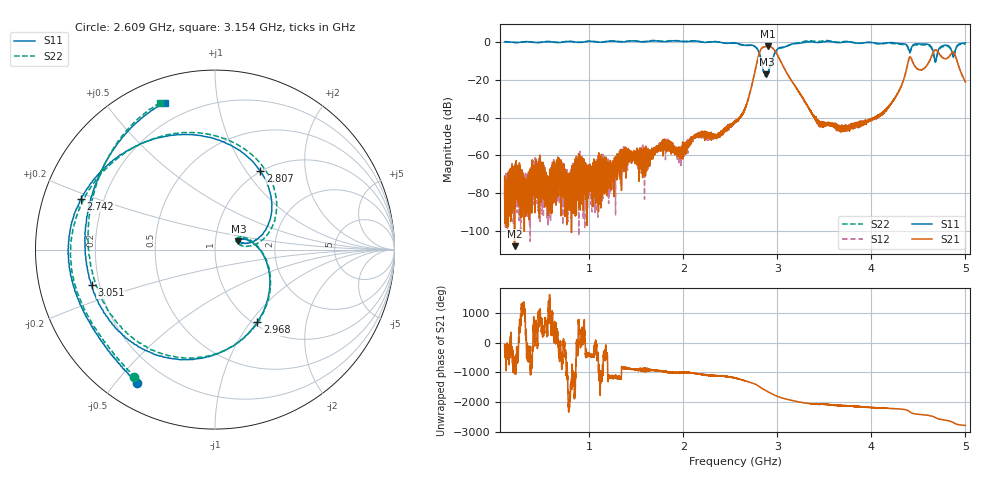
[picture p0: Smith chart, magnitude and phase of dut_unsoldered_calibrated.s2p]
!Keysight Technologies N9917A: A.13.25
!Date: Thursday, 15 October 2026 16:12:45
!Timezone: (UTC-08:00) Pacific Time (US & Canada)
!Model: N9917A
!Serial: MY56072049
!GPS Latitude:
!GPS Longitude:
!GPS TimeStamp: 0001-01-01 00:00:00Z
!GPS Seconds Since Last Read: 0
!CHECKSUM:0357207309
!Correction: S11(ON U)S21(ON U)S12(ON U)S22(ON U)
!S2P File: Measurements:S11,S21,S12,S22:
# Hz S DB R 50
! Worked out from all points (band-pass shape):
!   10001 points, 100 MHz to 5 GHz, reference 50 ohm
!   highest |S21| = -2.41 dB at 2.902 GHz (marker M1); lowest = -108.0 dB at 205.8 MHz (marker M2)
!   |S21| within 3 dB of the highest: 2.812 GHz to 2.984 GHz (171.9 MHz wide, 5.93 % of centre); 4.661 GHz to 4.709 GHz (48.76 MHz wide, 1.04 % of centre)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
!   lowest |S11| = -17.1 dB at 2.884 GHz (marker M3), VSWR 1.32, Z = 64.7 + j6.27 ohm
!   |S11| at or under -10 dB: 2.828 GHz to 2.944 GHz (116 MHz wide, 4.02 % of centre); 4.676665 GHz to 4.685375 GHz (8.71 MHz wide, 0.186 % of centre)
!   |S22| runs from -17.9 to 0.7 dB; largest |S21 - S12| = 0.0047
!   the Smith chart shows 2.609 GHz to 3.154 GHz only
!   S11 on the Smith chart (normalised r, x): 2.609 GHz: 0.10, -0.57; 2.742 GHz: 0.12, +0.18; 2.807 GHz: 0.99, +1.17; 2.968 GHz: 1.05, -1.08; 3.051 GHz: 0.17, -0.14; 3.154 GHz: 0.11, +0.71
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1e8  0.04 170.9  -83.07 -60.6  -82.02 31.2  0.04 170.9
2.0584e8  -0.40 161.9  -107.95 37.8  -74.66 -118.5  -0.33 162.1
9.1683e8  -0.29 98.5  -68.40 -76.6  -65.67 -31.7  -0.16 99.4
1.73366e9  0.37 25.8  -57.52 131.1  -56.01 130.0  0.52 25.9
2.1384e9  0.37 -20.6  -50.20 28.3  -49.41 34.0  0.47 -22.1
2.55e9  -0.60 -100.9  -41.91 -112.9  -42.70 -115.0  -0.77 -102.9
2.6088e9  -1.30 -120.4  -39.87 -164.2  -39.27 -167.1  -1.52 -122.4
2.74159e9  -1.95 159.2  -20.24 64.8  -20.23 64.9  -2.10 160.6
2.80725e9  -5.93 60.0  -6.08 -40.9  -6.08 -40.8  -5.45 59.9
2.84204e9  -13.24 11.9  -3.05 -116.8  -3.04 -116.8  -13.13 7.1
2.88369e9  -17.13 20.0  -2.46 168.1  -2.44 168.2  -17.21 27.8
2.90231e9  -16.26 22.4  -2.41 137.4  -2.41 137.5  -15.32 23.7
2.96846e9  -6.59 -59.7  -4.31 31.1  -4.32 31.1  -6.27 -63.6
3.05078e9  -2.90 -163.9  -11.72 -70.0  -11.72 -70.2  -3.20 -163.6
3.15368e9  -1.25 108.8  -20.77 -150.7  -20.77 -150.7  -1.17 110.6
3.36683e9  -0.02 11.6  -37.49 91.9  -37.67 92.0  0.47 8.7
3.71767e9  -0.09 -72.5  -45.99 31.5  -45.84 31.2  0.17 -75.7
4.18366e9  -0.44 -140.6  -34.46 -58.5  -34.33 -56.9  -0.73 -141.3
4.41298e9  -5.31 -159.4  -7.93 177.4  -7.91 177.6  -5.56 -157.8
4.67709e9  -10.12 164.4  -4.30 -3.7  -4.30 -3.8  -10.48 166.8
4.86574e9  -7.25 159.2  -5.37 -166.8  -5.35 -166.7  -7.47 162.9
5e9  -0.61 166.6  -21.25 85.2  -21.23 85.3  -1.21 164.5
